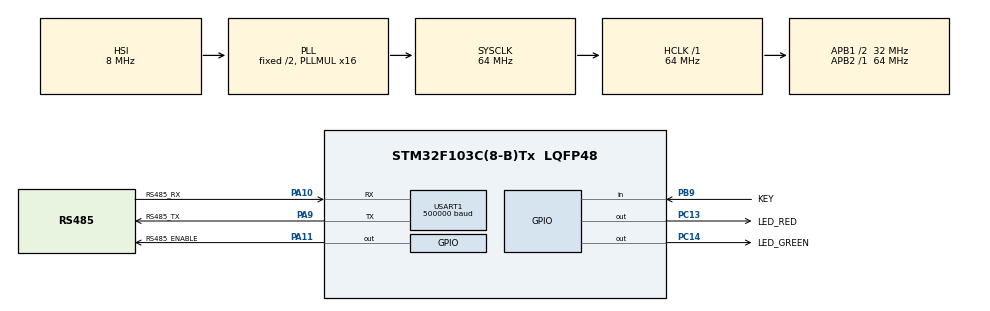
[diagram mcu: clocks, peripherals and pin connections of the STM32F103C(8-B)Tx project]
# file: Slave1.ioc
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Dma.Request0=USART1_RX
Dma.Request1=USART1_TX
Dma.USART1_RX.0.Direction=DMA_PERIPH_TO_MEMORY
Dma.USART1_RX.0.Instance=DMA1_Channel5
Dma.USART1_RX.0.MemDataAlignment=DMA_MDATAALIGN_BYTE
Dma.USART1_RX.0.MemInc=DMA_MINC_ENABLE
Dma.USART1_RX.0.Mode=DMA_NORMAL
Dma.USART1_RX.0.PeriphDataAlignment=DMA_PDATAALIGN_BYTE
Dma.USART1_RX.0.PeriphInc=DMA_PINC_DISABLE
Dma.USART1_RX.0.Priority=DMA_PRIORITY_VERY_HIGH
Dma.USART1_TX.1.Direction=DMA_MEMORY_TO_PERIPH
Dma.USART1_TX.1.Instance=DMA1_Channel4
Dma.USART1_TX.1.MemDataAlignment=DMA_MDATAALIGN_BYTE
Dma.USART1_TX.1.MemInc=DMA_MINC_ENABLE
Dma.USART1_TX.1.Mode=DMA_NORMAL
Dma.USART1_TX.1.PeriphDataAlignment=DMA_PDATAALIGN_BYTE
Dma.USART1_TX.1.PeriphInc=DMA_PINC_DISABLE
Dma.USART1_TX.1.Priority=DMA_PRIORITY_HIGH
Mcu.Family=STM32F1
Mcu.Name=STM32F103C(8-B)Tx
Mcu.Package=LQFP48
NVIC.DMA1_Channel4_IRQn=true\:0\:0\:false\:false\:true\:false
NVIC.DMA1_Channel5_IRQn=true\:0\:0\:false\:false\:true\:false
NVIC.PriorityGroup=NVIC_PRIORITYGROUP_4
NVIC.TIM1_UP_IRQn=true\:0\:0\:false\:false\:true\:true
NVIC.TIM2_IRQn=true\:0\:0\:false\:false\:true\:true
NVIC.USART1_IRQn=true\:0\:0\:false\:false\:true\:true
PA10.GPIO_Label=RS485_RX
PA10.Mode=Asynchronous
PA10.Signal=USART1_RX
PA11.GPIO_Label=RS485_ENABLE
PA11.GPIO_Speed=GPIO_SPEED_FREQ_MEDIUM
PA11.Signal=GPIO_Output
PA13.Mode=Serial_Wire
PA13.Signal=SYS_JTMS-SWDIO
PA14.Mode=Serial_Wire
PA14.Signal=SYS_JTCK-SWCLK
PA9.GPIO_Label=RS485_TX
PA9.Mode=Asynchronous
PA9.Signal=USART1_TX
PB9.GPIO_Label=KEY
PB9.Signal=GPIO_Input
PC13-TAMPER-RTC.GPIO_Label=LED_RED
PC13-TAMPER-RTC.PinState=GPIO_PIN_SET
PC13-TAMPER-RTC.Signal=GPIO_Output
PC14-OSC32_IN.GPIO_Label=LED_GREEN
PC14-OSC32_IN.PinState=GPIO_PIN_SET
PC14-OSC32_IN.Signal=GPIO_Output
ProjectManager.HeapSize=0x200
ProjectManager.StackSize=0x400
ProjectManager.TargetToolchain=MDK-ARM V5
RCC.AHBFreq_Value=64000000
RCC.APB1CLKDivider=RCC_HCLK_DIV2
RCC.APB1Freq_Value=32000000
RCC.APB1TimFreq_Value=64000000
RCC.APB2Freq_Value=64000000
RCC.APB2TimFreq_Value=64000000
RCC.HCLKFreq_Value=64000000
RCC.PLLMUL=RCC_PLL_MUL16
RCC.SYSCLKFreq_VALUE=64000000
RCC.SYSCLKSource=RCC_SYSCLKSOURCE_PLLCLK
RCC.USBFreq_Value=64000000
TIM1.AutoReloadPreload=TIM_AUTORELOAD_PRELOAD_ENABLE
TIM1.Period=99
TIM1.Prescaler=63999
USART1.BaudRate=500000
USART1.VirtualMode=VM_ASYNC
VP_TIM1_VS_ClockSourceINT.Mode=Internal
VP_TIM2_VS_ClockSourceINT.Mode=Internal
board=Slave1

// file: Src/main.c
/**
  ******************************************************************************
  * @file           : main.c
  * @brief          : Main program body
  ******************************************************************************
  ** This notice applies to any and all portions of this file
  * that are not between comment pairs USER CODE BEGIN and
  * USER CODE END. Other portions of this file, whether
  * inserted by the user or by software development tools
  * are owned by their respective copyright owners.
  *
  * COPYRIGHT(c) 2018 STMicroelectronics
  *
  * Redistribution and use in source and binary forms, with or without modification,
  * are permitted provided that the following conditions are met:
  *   1. Redistributions of source code must retain the above copyright notice,
  *      this list of conditions and the following disclaimer.
  *   2. Redistributions in binary form must reproduce the above copyright notice,
  *      this list of conditions and the following disclaimer in the documentation
  *      and/or other materials provided with the distribution.
  *   3. Neither the name of STMicroelectronics nor the names of its contributors
  *      may be used to endorse or promote products derived from this software
  *      without specific prior written permission.
  *
  * THIS SOFTWARE IS PROVIDED BY THE COPYRIGHT HOLDERS AND CONTRIBUTORS "AS IS"
  * AND ANY EXPRESS OR IMPLIED WARRANTIES, INCLUDING, BUT NOT LIMITED TO, THE
  * IMPLIED WARRANTIES OF MERCHANTABILITY AND FITNESS FOR A PARTICULAR PURPOSE ARE
  * DISCLAIMED. IN NO EVENT SHALL THE COPYRIGHT HOLDER OR CONTRIBUTORS BE LIABLE
  * FOR ANY DIRECT, INDIRECT, INCIDENTAL, SPECIAL, EXEMPLARY, OR CONSEQUENTIAL
  * DAMAGES (INCLUDING, BUT NOT LIMITED TO, PROCUREMENT OF SUBSTITUTE GOODS OR
  * SERVICES; LOSS OF USE, DATA, OR PROFITS; OR BUSINESS INTERRUPTION) HOWEVER
  * CAUSED AND ON ANY THEORY OF LIABILITY, WHETHER IN CONTRACT, STRICT LIABILITY,
  * OR TORT (INCLUDING NEGLIGENCE OR OTHERWISE) ARISING IN ANY WAY OUT OF THE USE
  * OF THIS SOFTWARE, EVEN IF ADVISED OF THE POSSIBILITY OF SUCH DAMAGE.
  *
  ******************************************************************************
  */
#include "main.h"
#include "stm32f1xx_hal.h"
#include "dma.h"
#include "tim.h"
#include "usart.h"
#include "gpio.h"

/* USER CODE BEGIN Includes */
#include "Slave1.h"
/* USER CODE END Includes */

/* USER CODE BEGIN PV */
/* Private variables ---------------------------------------------------------*/

/* USER CODE END PV */

void SystemClock_Config(void);

/* USER CODE BEGIN PFP */
/* Private function prototypes -----------------------------------------------*/

void HAL_TIM_PeriodElapsedCallback(TIM_HandleTypeDef *htim);
void HAL_UART_TxCpltCallback(UART_HandleTypeDef *huart);
void HAL_UART_RxCpltCallback(UART_HandleTypeDef *huart);

/* USER CODE END PFP */

int main(void)
{

  /* MCU Configuration----------------------------------------------------------*/

  /* Reset of all peripherals, Initializes the Flash interface and the Systick. */
  HAL_Init();

  /* Configure the system clock */
  SystemClock_Config();

  /* Initialize all configured peripherals */
  MX_GPIO_Init();
  MX_DMA_Init();
  MX_USART1_UART_Init();
  MX_TIM1_Init();
  MX_TIM2_Init();

  /* Infinite loop */
  /* USER CODE BEGIN WHILE */

//	Registery();
	Slave_Init(10,0);				//7 for wc & 0 for up door

  while (1)
  {
		if(HAL_GPIO_ReadPin(KEY_GPIO_Port,KEY_Pin)==GPIO_PIN_RESET){
			set_slave1(Send_pck.DIST_PCK.State,1);

			if(user_type==SLAVE1_DOOR){
				led_red.state=LED_OFF;
				led_green.state=LED_OFF;

				missed_list.index=0;
				called_flag=FLAG_DISABLE;
				calling_flag=FLAG_DISABLE;
				wait_flag=FLAG_DISABLE;
			}
			else if(user_type==SLAVE1_WC){
				led_red.state=LED_TOGGLE_FAST;
			}
		}

  /* USER CODE END WHILE */

  }

}

void SystemClock_Config(void)
{

  RCC_OscInitTypeDef RCC_OscInitStruct;
  RCC_ClkInitTypeDef RCC_ClkInitStruct;

    /**Initializes the CPU, AHB and APB busses clocks
    */
  RCC_OscInitStruct.OscillatorType = RCC_OSCILLATORTYPE_HSI;
  RCC_OscInitStruct.HSIState = RCC_HSI_ON;
  RCC_OscInitStruct.HSICalibrationValue = 16;
  RCC_OscInitStruct.PLL.PLLState = RCC_PLL_ON;
  RCC_OscInitStruct.PLL.PLLSource = RCC_PLLSOURCE_HSI_DIV2;
  RCC_OscInitStruct.PLL.PLLMUL = RCC_PLL_MUL16;
  if (HAL_RCC_OscConfig(&RCC_OscInitStruct) != HAL_OK)
  {
    _Error_Handler(__FILE__, __LINE__);
  }

    /**Initializes the CPU, AHB and APB busses clocks
    */
  RCC_ClkInitStruct.ClockType = RCC_CLOCKTYPE_HCLK|RCC_CLOCKTYPE_SYSCLK
                              |RCC_CLOCKTYPE_PCLK1|RCC_CLOCKTYPE_PCLK2;
  RCC_ClkInitStruct.SYSCLKSource = RCC_SYSCLKSOURCE_PLLCLK;
  RCC_ClkInitStruct.AHBCLKDivider = RCC_SYSCLK_DIV1;
  RCC_ClkInitStruct.APB1CLKDivider = RCC_HCLK_DIV2;
  RCC_ClkInitStruct.APB2CLKDivider = RCC_HCLK_DIV1;

  if (HAL_RCC_ClockConfig(&RCC_ClkInitStruct, FLASH_LATENCY_2) != HAL_OK)
  {
    _Error_Handler(__FILE__, __LINE__);
  }

    /**Configure the Systick interrupt time
    */
  HAL_SYSTICK_Config(HAL_RCC_GetHCLKFreq()/1000);

    /**Configure the Systick
    */
  HAL_SYSTICK_CLKSourceConfig(SYSTICK_CLKSOURCE_HCLK);

  /* SysTick_IRQn interrupt configuration */
  HAL_NVIC_SetPriority(SysTick_IRQn, 0, 0);
}

/* USER CODE BEGIN 4 */

void HAL_TIM_PeriodElapsedCallback(TIM_HandleTypeDef *htim){
	//100ms timer
	if(htim->Instance==TIM1){
		if(led_green.state==LED_TOGGLE_NORM){
			led_green.counter++;
			if(led_green.counter>LED_NORMAL_PERIOD){
				led_green.counter=0;
				HAL_GPIO_TogglePin(LED_GREEN_GPIO_Port,LED_GREEN_Pin);
			}
		}
		else if(led_green.state==LED_TOGGLE_FAST){
			led_green.counter++;
			if(led_green.counter>LED_FAST_PERIOD){
				led_green.counter=0;
				HAL_GPIO_TogglePin(LED_GREEN_GPIO_Port,LED_GREEN_Pin);
			}
		}
		else if(led_green.state==LED_ON)HAL_GPIO_WritePin(LED_GREEN_GPIO_Port,LED_GREEN_Pin,GPIO_PIN_RESET);
		else if(led_green.state==LED_OFF)HAL_GPIO_WritePin(LED_GREEN_GPIO_Port,LED_GREEN_Pin,GPIO_PIN_SET);

		if(led_red.state==LED_TOGGLE_NORM){
			led_red.counter++;
			if(led_red.counter>LED_NORMAL_PERIOD){
				led_red.counter=0;
				HAL_GPIO_TogglePin(LED_RED_GPIO_Port,LED_RED_Pin);
			}
		}
		else if(led_red.state==LED_TOGGLE_FAST){
			led_red.counter++;
			if(led_red.counter>LED_FAST_PERIOD){
				led_red.counter=0;
				HAL_GPIO_TogglePin(LED_RED_GPIO_Port,LED_RED_Pin);
			}
		}
		else if(led_red.state==LED_ON)HAL_GPIO_WritePin(LED_RED_GPIO_Port,LED_RED_Pin,GPIO_PIN_RESET);
		else if(led_red.state==LED_OFF)HAL_GPIO_WritePin(LED_RED_GPIO_Port,LED_RED_Pin,GPIO_PIN_SET);

		if(user_type==SLAVE1_DOOR && registered_flag==FLAG_ENABLE){
			counter_1s++;
			if(counter_1s>10){
				counter_1s=0;

				//check state of leds
				if(wait_flag)led_red.state=LED_TOGGLE_FAST;
				else if(missed_list.index!=0)led_red.state=LED_TOGGLE_NORM;
				else led_red.state=LED_OFF;

				if(calling_flag)led_green.state=LED_TOGGLE_NORM;
				else if(called_flag)led_green.state=LED_ON;
				else led_green.state=LED_OFF;

				calling_flag=FLAG_DISABLE;
				wait_flag=FLAG_DISABLE;
			}
		}
	}
}

void HAL_UART_TxCpltCallback(UART_HandleTypeDef *huart){
	Disable_RS485_Line;
	HAL_UART_Abort(&Slave_Uart);
	HAL_UART_Receive_IT(&Slave_Uart,&buff,1);
}

void HAL_UART_RxCpltCallback(UART_HandleTypeDef *huart){

	pck_state=GetNewData(buff);

	if(registered_flag==FLAG_ENABLE){
		if(pck_state==PCK_With_Me){
			HAL_UART_Abort(&huart1);
			Send_PCK(SLAVE1_HELLO,0,0,0);
			if(user_type==SLAVE1_DOOR)set_slave1(Send_pck.DIST_PCK.State,0);
		}
		else{
			HAL_UART_Abort(&Slave_Uart);
			HAL_UART_Receive_IT(&Slave_Uart,&buff,1);
		}
	}
	else {
		if(pck_state==PCK_REGISTERY){
			HAL_GPIO_TogglePin(LED_GREEN_GPIO_Port,LED_GREEN_Pin);
			if(Received_pck.DIST_PCK.Sensor2==0xFF){
				int aa=GET_USR_ROOM(Received_pck.DIST_PCK.Sensor3);
				if((aa==0) || (aa==7)){
					Slave_Init(GET_ROOM(Received_pck.DIST_PCK.Sensor3),aa);
				}
				else {
					HAL_UART_Abort(&Slave_Uart);
					HAL_UART_Receive_IT(&Slave_Uart,&buff,1);
				}
			}
			else Send_PCK(SLAVE1_REGISTER,0,0,0);
		}
		else {
			HAL_UART_Abort(&Slave_Uart);
			HAL_UART_Receive_IT(&Slave_Uart,&buff,1);
		}
	}

}

/* USER CODE END 4 */

void _Error_Handler(char *file, int line)
{
  while(1)
  {
  }
}

/************************ (C) COPYRIGHT STMicroelectronics *****END OF FILE****/
